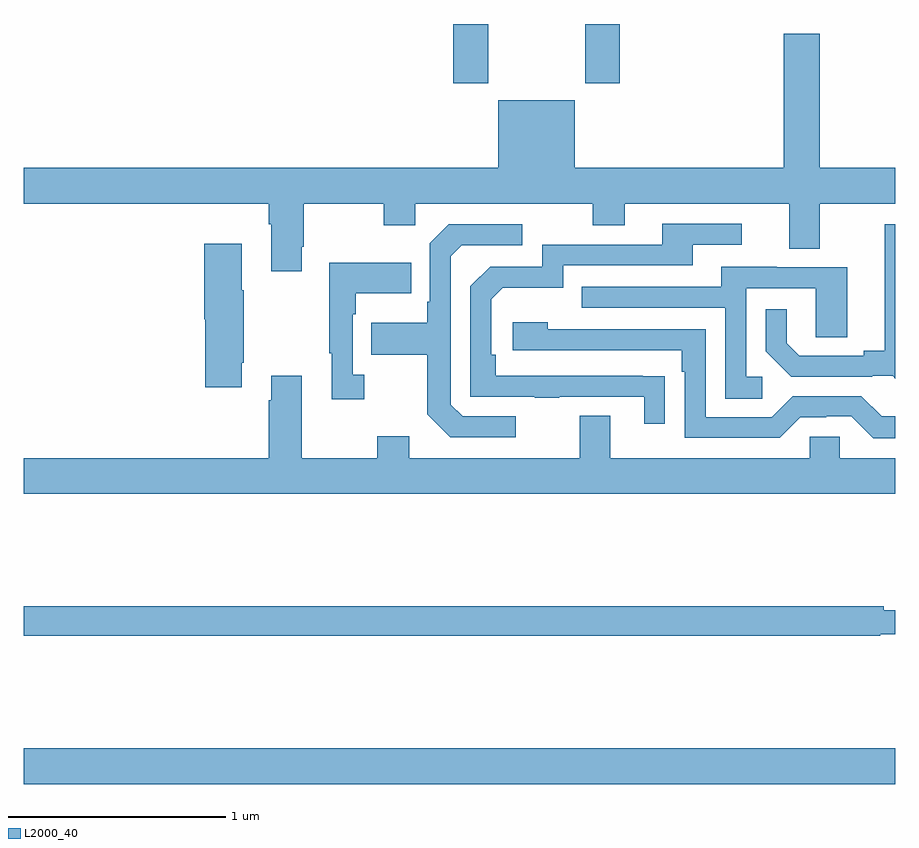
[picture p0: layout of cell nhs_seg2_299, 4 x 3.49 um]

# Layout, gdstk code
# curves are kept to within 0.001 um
import gdstk
lib = gdstk.Library(unit=1e-6, precision=1e-09)
def R(c, l, rs):  # rectangles x0, y0, x1, y1
    for r in rs: c.add(gdstk.rectangle(r[:2], r[2:], *l))
def P(c, l, *ps):  # polygons
    for p in ps: c.add(gdstk.Polygon(p, *l))
L2000_40 = (2000, 40)

nhs_seg2_299 = lib.new_cell('nhs_seg2_299')
R(nhs_seg2_299, L2000_40, [(125,638.312,129,638.476), (126.971,641.529,127.131,641.8), (127.576,641.529,127.736,641.8)])
P(nhs_seg2_299, L2000_40, [(126.277,640.777),(126.285,640.777),(126.285,640.976),(126.652,640.976),(126.652,640.877),(126.798,640.877),(126.798,640.976),(127.612,640.976),(127.612,640.877),(127.759,640.877),(127.759,640.976),(128.513,640.976),(128.513,640.768),(128.653,640.768),(128.653,640.976),(129,640.976),(129,641.14),(128.653,641.14),(128.653,641.755),(128.489,641.755),(128.489,641.14),(127.528,641.14),(127.528,641.449),(127.178,641.449),(127.178,641.14),(125,641.14),(125,640.976),(126.125,640.976),(126.125,640.88),(126.137,640.88),(126.137,640.665),(126.277,640.665)],
  [(127.943,640.184),(127.166,640.185),(127.166,640.282),(127.146,640.282),(127.146,640.536),(127.199,640.589),(127.476,640.589),(127.476,640.692),(128.071,640.692),(128.071,640.788),(128.296,640.788),(128.296,640.884),(127.931,640.884),(127.931,640.788),(127.38,640.788),(127.38,640.686),(127.14,640.686),(127.05,640.596),(127.05,640.089),(127.345,640.089),(127.345,640.084),(127.457,640.084),(127.457,640.089),(127.847,640.089),(127.847,639.966),(127.943,639.966)],
  [(129,640.881),(128.951,640.881),(128.951,640.301),(128.855,640.301),(128.855,640.278),(128.56,640.278),(128.503,640.335),(128.503,640.492),(128.406,640.492),(128.406,640.298),(128.522,640.182),(128.894,640.182),(128.894,640.185),(128.988,640.185),(129,640.173)],
  [(127.258,639.999),(127.014,639.999),(126.96,640.053),(126.96,640.734),(127.011,640.785),(127.288,640.785),(127.288,640.881),(126.951,640.881),(126.864,640.794),(126.864,640.525),(126.852,640.525),(126.852,640.429),(126.595,640.429),(126.595,640.282),(126.852,640.282),(126.852,640.009),(126.957,639.903),(127.258,639.903)],
  [(126.001,640.246),(126.009,640.246),(126.009,640.577),(126.001,640.577),(126.001,640.792),(125.828,640.792),(125.828,640.446),(125.834,640.446),(125.834,640.134),(126.001,640.134)],
  [(126.562,640.19),(126.51,640.19),(126.51,640.469),(126.523,640.469),(126.523,640.565),(126.779,640.565),(126.779,640.705),(126.402,640.705),(126.402,640.289),(126.413,640.289),(126.413,640.077),(126.562,640.077)],
  [(128.389,640.182),(128.316,640.182),(128.316,640.587),(128.634,640.587),(128.634,640.363),(128.779,640.363),(128.779,640.683),(128.455,640.683),(128.455,640.687),(128.201,640.687),(128.201,640.593),(127.561,640.593),(127.561,640.497),(128.22,640.497),(128.22,640.081),(128.389,640.081)],
  [(129,639.999),(128.937,639.999),(128.844,640.092),(128.529,640.092),(128.433,639.996),(128.13,639.996),(128.13,640.398),(127.406,640.398),(127.406,640.432),(127.245,640.432),(127.245,640.302),(128.021,640.302),(128.021,640.205),(128.034,640.205),(128.034,639.9),(128.469,639.9),(128.565,639.996),(128.684,639.996),(128.684,639.999),(128.799,639.999),(128.899,639.899),(129,639.899)],
  [(129,639.808),(128.745,639.808),(128.745,639.906),(128.607,639.906),(128.607,639.808),(127.693,639.808),(127.693,640.003),(127.553,640.003),(127.553,639.808),(126.769,639.808),(126.769,639.907),(126.622,639.907),(126.622,639.808),(126.277,639.808),(126.277,640.186),(126.137,640.186),(126.137,640.073),(126.125,640.073),(126.125,639.808),(125,639.808),(125,639.644),(129,639.644)],
  [(128.93,639),(129,639),(129,639.109),(128.948,639.109),(128.948,639.128),(125,639.128),(125,638.992),(128.93,638.992)])

lib.write_gds('nhs_seg2_299.gds')
